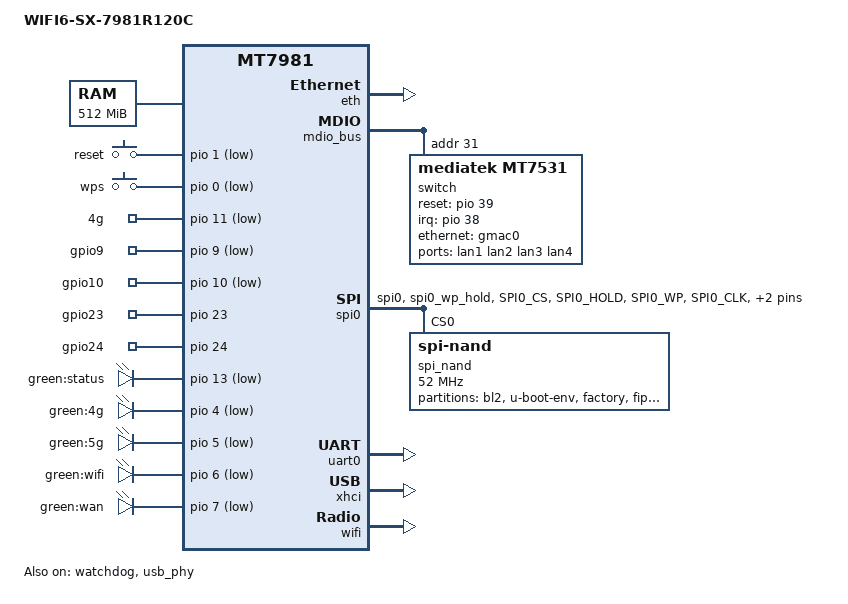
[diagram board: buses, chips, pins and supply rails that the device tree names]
// SPDX-License-Identifier: GPL-2.0-or-later OR MIT

/dts-v1/;
#include <dt-bindings/gpio/gpio.h>
#include <dt-bindings/input/input.h>
#include <dt-bindings/leds/common.h>
#include <dt-bindings/pinctrl/mt65xx.h>

#include "mt7981.dtsi"

/ {
	model = "WIFI6-SX-7981R120C";
	compatible = "oem,wifi6-sx-7981r120c", "mediatek,mt7981";

	aliases {
		serial0 = &uart0;
		led-boot = &led_status;
		led-failsafe = &led_status;
		led-running = &led_status;
		led-upgrade = &led_status;
		label-mac-device = &gmac0;
	};

	chosen {
		stdout-path = "serial0:115200n1";
		bootargs = "console=ttyS0,115200n1 loglevel=8 earlycon=uart8250,mmio32,0x11002000";
	};

	memory@40000000 {
		device_type = "memory";
		/* 512 MiB DDR：若 U-Boot 自检打印的是 256 MiB，这里改成 0x10000000 */
		reg = <0 0x40000000 0 0x20000000>;
	};

	gpio-keys {
		compatible = "gpio-keys";

		reset {
			label = "reset";
			linux,code = <KEY_RESTART>;
			gpios = <&pio 1 GPIO_ACTIVE_LOW>;
		};

		wps {
			label = "wps";
			linux,code = <KEY_WPS_BUTTON>;
			/* 原厂 kernel dt 里这个键是 GPIO_ACTIVE_HIGH；
			 * 若 WPS 键一直显示按下/或完全无反应，改成 GPIO_ACTIVE_HIGH 试试
			 */
			gpios = <&pio 0 GPIO_ACTIVE_LOW>;
		};
	};

	/* 原厂 gpio-export 定义，电平与极性照抄原厂 dt，避免改了之后
	 * 4G 模组/外设上电行为跟原固件不一致。不需要的可以删掉。
	 */
	gpio-export {
		compatible = "gpio-export";

		modem {
			gpio-export,name = "4g";
			gpio-export,output = <1>;
			gpios = <&pio 11 GPIO_ACTIVE_LOW>;
		};

		gpio9 {
			gpio-export,name = "gpio9";
			gpio-export,output = <1>;
			gpios = <&pio 9 GPIO_ACTIVE_LOW>;
		};

		gpio10 {
			gpio-export,name = "gpio10";
			gpio-export,output = <1>;
			gpios = <&pio 10 GPIO_ACTIVE_LOW>;
		};

		gpio23 {
			gpio-export,name = "gpio23";
			gpio-export,output = <0>;
			gpios = <&pio 23 GPIO_ACTIVE_HIGH>;
		};

		gpio24 {
			gpio-export,name = "gpio24";
			gpio-export,output = <0>;
			gpios = <&pio 24 GPIO_ACTIVE_HIGH>;
		};
	};

	leds {
		compatible = "gpio-leds";

		led_status: status {
			label = "green:status";
			gpios = <&pio 13 GPIO_ACTIVE_LOW>;
		};

		led-4g {
			label = "green:4g";
			gpios = <&pio 4 GPIO_ACTIVE_LOW>;
			/* 蜂窝模组在线灯（不是 WiFi 频段灯） */
		};

		led-5g {
			label = "green:5g";
			gpios = <&pio 5 GPIO_ACTIVE_LOW>;
			/* 5G 灯：闭源 mt_wifi 没有 phy*tpt 触发器，
			 * 改由 01_leds 用 netdev 绑到 rax0
			 */
		};

		led-wifi {
			label = "green:wifi";
			gpios = <&pio 6 GPIO_ACTIVE_LOW>;
			/* 2.4G 灯：同上，绑 ra0 */
		};

		led-wan {
			label = "green:wan";
			gpios = <&pio 7 GPIO_ACTIVE_LOW>;
		};
	};
};

&eth {
	status = "okay";

	gmac0: mac@0 {
		compatible = "mediatek,eth-mac";
		reg = <0>;
		phy-mode = "2500base-x";

		/* MAC 取 factory 分区偏移 4（原厂标签 MAC）。
		 * 若发现和机身标签不一致，把 0 改成 (-2) 或 1 试试。
		 */
		nvmem-cell-names = "mac-address";
		nvmem-cells = <&macaddr_factory_4 0>;

		fixed-link {
			speed = <2500>;
			full-duplex;
			pause;
		};
	};

	gmac1: mac@1 {
		compatible = "mediatek,eth-mac";
		reg = <1>;
		phy-mode = "gmii";
		phy-handle = <&int_gbe_phy>;

		nvmem-cell-names = "mac-address";
		nvmem-cells = <&macaddr_factory_4 1>;
	};
};

&mdio_bus {
	switch: switch@1f {
		compatible = "mediatek,mt7531";
		reg = <31>;

		reset-gpios = <&pio 39 GPIO_ACTIVE_HIGH>;

		interrupt-controller;
		#interrupt-cells = <1>;
		interrupt-parent = <&pio>;
		interrupts = <38 IRQ_TYPE_LEVEL_HIGH>;
	};
};

&switch {
	ports {
		#address-cells = <1>;
		#size-cells = <0>;

		port@0 {
			reg = <0>;
			label = "lan1";
		};

		port@1 {
			reg = <1>;
			label = "lan2";
		};

		port@2 {
			reg = <2>;
			label = "lan3";
		};

		port@3 {
			reg = <3>;
			label = "lan4";
		};

		port@6 {
			reg = <6>;
			ethernet = <&gmac0>;
			phy-mode = "2500base-x";

			fixed-link {
				speed = <2500>;
				full-duplex;
				pause;
			};
		};
	};
};

&spi0 {
	pinctrl-names = "default";
	pinctrl-0 = <&spi0_flash_pins>;
	status = "okay";

	spi_nand: flash@0 {
		compatible = "spi-nand";
		reg = <0>;

		#address-cells = <1>;
		#size-cells = <1>;

		spi-max-frequency = <52000000>;
		spi-rx-bus-width = <4>;
		spi-tx-bus-width = <4>;

		/* U-Boot 用 NMBM 管理坏块，内核必须用同一套 */
		mediatek,nmbm;
		mediatek,bmt-max-ratio = <1>;
		/* 必须与 BL2(ATF)/U-Boot 的 NMBM 保留块数一致（本框架默认 256）；
		 * 写 64 会让内核与 bootloader 对可用容量/管理区的计算不一致
		 */
		mediatek,bmt-max-reserved-blocks = <256>;

		/* SPI-NAND 读时序校准：读 0 地址的 "SPINAND" 特征数据，
		 * 由 SPI 核心自动扫出最佳 tick_dly（缺这段则用默认值，
		 * 参考板（cudy/wr3000-nand、xiaomi 等）都带这几行）
		 */
		spi-cal-enable;
		spi-cal-mode = "read-data";
		spi-cal-datalen = <7>;
		spi-cal-data = /bits/ 8 <0x53 0x50 0x49 0x4E 0x41 0x4E 0x44>;
		spi-cal-addrlen = <5>;
		spi-cal-addr = /bits/ 32 <0x0 0x0 0x0 0x0 0x0>;

		partitions: partitions {
			compatible = "fixed-partitions";
			#address-cells = <1>;
			#size-cells = <1>;

			partition@0 {
				label = "bl2";
				reg = <0x00000000 0x00100000>;
				read-only;
			};

			partition@100000 {
				label = "u-boot-env";
				reg = <0x00100000 0x00080000>;
			};

			factory: partition@180000 {
				label = "factory";
				reg = <0x00180000 0x00200000>;
				read-only;

				nvmem-layout {
					compatible = "fixed-layout";
					#address-cells = <1>;
					#size-cells = <1>;

					eeprom_factory_0: eeprom@0 {
						reg = <0x0 0x1000>;
					};

					macaddr_factory_4: macaddr@4 {
						compatible = "mac-base";
						reg = <0x4 0x6>;
						#nvmem-cell-cells = <1>;
					};
				};
			};

			partition@380000 {
				label = "fip";
				reg = <0x00380000 0x00100000>;
				read-only;
			};

			/* 0x480000 + 0xE600000 = 235520k，与 U-Boot 的
			 * mtdparts "nmbm0:1024k(bl2),512k(u-boot-env),
			 * 2048k(factory),1024k(fip),235520k(ubi)" 完全一致
			 */
			partition@480000 {
				label = "ubi";
				compatible = "linux,ubi";
				reg = <0x00480000 0x0e600000>;
			};
		};
	};
};

&pio {
	spi0_flash_pins: spi0-pins {
		mux {
			function = "spi";
			groups = "spi0", "spi0_wp_hold";
		};

		conf-pu {
			pins = "SPI0_CS", "SPI0_HOLD", "SPI0_WP";
			drive-strength = <MTK_DRIVE_8mA>;
			bias-pull-up = <MTK_PUPD_SET_R1R0_11>;
		};

		conf-pd {
			pins = "SPI0_CLK", "SPI0_MOSI", "SPI0_MISO";
			drive-strength = <MTK_DRIVE_8mA>;
			bias-pull-down = <MTK_PUPD_SET_R1R0_11>;
		};
	};
};

&uart0 {
	status = "okay";
};

&watchdog {
	status = "okay";
};

&xhci {
	status = "okay";
};

&usb_phy {
	status = "okay";
};

/* USB3 PHY 的 TX/RX 阻抗与 intr 校准：从 SoC efuse（OTP）读，
 * 原厂 DT（usb-phy@11e10700）里就是这么连的；新树 dtsi 少了这几行，
 * 不补的话驱动 nvmem 读失败会退回默认值（信号完整性变差）
 */
&u3port0 {
	nvmem-cells = <&comb_intr_p0>, <&comb_rx_imp_p0>, <&comb_tx_imp_p0>;
	nvmem-cell-names = "intr", "rx_imp", "tx_imp";
};

&wifi {
	status = "okay";
	nvmem-cells = <&eeprom_factory_0>;
	nvmem-cell-names = "eeprom";
	/* 与上面 nvmem 指向同一份数据；6.6 树的 mt76 两种来源都支持 */
	mediatek,mtd-eeprom = <&factory 0x0>;
};

/* HNAT/PPE 绑定：这几个值在实机设备树里核对过
 * （/proc/device-tree/soc/hnat@15000000/：mtketh-wan=eth1, mtketh-lan=eth0,
 *  ext-devices-prefix=usb/wwan/rmnet/eth2/eth3/eth4），写进板级 DTS 固定下来，
 * 防止以后 dtsi 改动把 WAN 绑定或 USB/蜂窝口的硬件加速前缀改掉。
 * eth1 是内建 GbE（WAN），eth0 是 MT7531 交换机侧。
 */
&hnat {
	mtketh-wan = "eth1";
	mtketh-lan = "eth0";
	ext-devices-prefix = "usb", "wwan", "rmnet", "eth2", "eth3", "eth4";
};

/* 注：这两个 nvmem 绑定是给开源 mt76 用的；本固件用闭源 mt_wifi，
 * 它读的是文件 /lib/firmware/e2p，由 lib/preinit/90_extract_caldata
 * 从本机 factory 分区提取（0x5000 字节）。
 */
